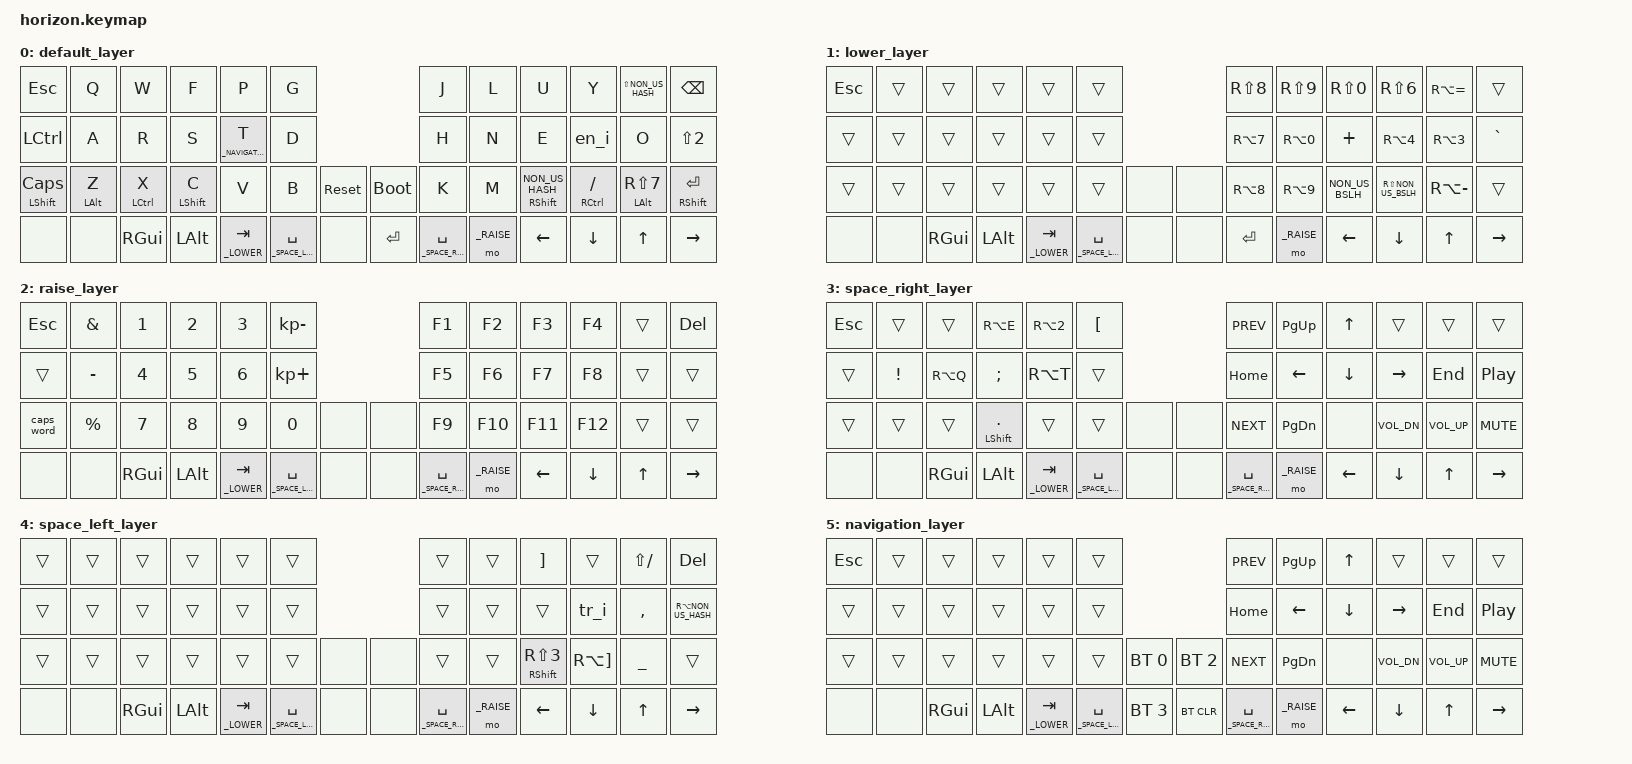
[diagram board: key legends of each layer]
/*
 * Copyright (c) 2021 The ZMK Contributors
 *
 * SPDX-License-Identifier: MIT
 */

#include <behaviors.dtsi>
#include <dt-bindings/zmk/keys.h>
#include <dt-bindings/zmk/bt.h>


// Layers
#define _COLEMAK       0
#define _LOWER         1
#define _RAISE         2
#define _SPACE_RIGHT   3
#define _SPACE_LEFT    4
#define _NAVIGATION    5

&lt {
    tapping-term-ms = <180>;
    flavor = "tap-preferred";
};

&soft_off {
    hold-time-ms = <750>; // Only turn off it the key is held for 2 seconds or longer.
};

/ {
    behaviors {
        ht: hold_tap {
            compatible = "zmk,behavior-hold-tap";
            #binding-cells = <2>;
            flavor = "tap-preferred";
            tapping-term-ms = <200>;
            quick-tap-ms = <150>;
            global-quick-tap;
            bindings = <&kp>, <&kp>;
        };
        en_i: en_i {
            compatible = "zmk,behavior-mod-morph";
            #binding-cells = <0>;
            bindings = <&kp SQT>, <&kp LS(I)>;
            mods = <(MOD_LSFT|MOD_RSFT)>;
        };
        tr_i: tr_i {
            compatible = "zmk,behavior-mod-morph";
            #binding-cells = <0>;
            bindings = <&kp I>, <&kp LS(SQT)>;
            mods = <(MOD_LSFT|MOD_RSFT)>;
        };
    };

    combos {
        compatible = "zmk,combos";
        combo_del {
            timeout-ms = <50>;
            key-positions = <10 11>;
            bindings = <&kp DEL>;
        };
        combo_off {
            timeout-ms = <50>;
            key-positions = <0 11>;
            bindings = <&soft_off>; //The soft off behavior is used to force the keyboard into an off state. The keyboard can be turned back on again either with using the reset button found on the device.
    }; 
    };

    keymap {
        compatible = "zmk,keymap";

        default_layer {
            bindings = <
                &kp ESC        &kp Q      &kp W            &kp F         &kp P                &kp G                                                &kp J                      &kp L          &kp U                    &kp Y             &kp LS(NON_US_HASH)   &kp BSPC
                &kp LCTRL      &kp A      &kp R            &kp S         &lt _NAVIGATION T    &kp D                                                &kp H                      &kp N          &kp E                    &en_i             &kp O                 &kp LS(N2)
                &ht LSHFT CLCK &ht LALT Z &ht LCTRL X      &ht LSHFT C   &kp V                &kp B                    &sys_reset   &bootloader    &kp K                      &kp M          &ht RSHFT NON_US_HASH    &ht RCTRL FSLH    &ht LALT RS(N7)       &ht RSHFT RET
                &none          &none      &kp RIGHT_GUI    &kp LALT      &lt _LOWER TAB       &lt _SPACE_LEFT SPACE    &none        &kp RET        &lt _SPACE_RIGHT SPACE     &mo _RAISE     &kp LEFT                 &kp DOWN          &kp UP                &kp RIGHT
            >;
        };

        lower_layer {
            bindings = <
                &kp ESC    &trans     &trans           &trans      &trans             &trans                                     &kp RS(N8)     &kp RS(N9)      &kp RS(N0)         &kp RS(N6)             &kp RA(EQUAL)    &trans
                &trans     &trans     &trans           &trans      &trans             &trans                                     &kp RA(N7)     &kp RA(N0)      &kp PLUS           &kp RA(N4)             &kp RA(N3)       &kp GRAVE
                &trans     &trans     &trans           &trans      &trans             &trans                   &none   &none     &kp RA(N8)     &kp RA(N9)      &kp NON_US_BSLH    &kp RS(NON_US_BSLH)    &kp RA(MINUS)    &trans
                &none      &none      &kp RIGHT_GUI    &kp LALT    &lt _LOWER TAB     &lt _SPACE_LEFT SPACE    &none   &none     &kp RET        &mo _RAISE      &kp LEFT           &kp DOWN               &kp UP           &kp RIGHT
            >;
        };

        raise_layer {
            bindings = <
                &kp ESC       &kp AMPS     &kp N1           &kp N2      &kp N3            &kp KP_MINUS                               &kp F1                     &kp F2        &kp F3      &kp F4      &trans    &kp DEL
                &trans        &kp MINUS    &kp N4           &kp N5      &kp N6            &kp KP_PLUS                                &kp F5                     &kp F6        &kp F7      &kp F8      &trans    &trans
                &caps_word    &kp PRCNT    &kp N7           &kp N8      &kp N9            &kp N0                   &none    &none    &kp F9                     &kp F10       &kp F11     &kp F12     &trans    &trans
                &none         &none        &kp RIGHT_GUI    &kp LALT    &lt _LOWER TAB    &lt _SPACE_LEFT SPACE    &none    &none    &lt _SPACE_RIGHT SPACE     &mo _RAISE    &kp LEFT    &kp DOWN    &kp UP    &kp RIGHT
            >;
        };

        space_right_layer {
            bindings = <
                &kp ESC    &trans      &trans           &kp RA(E)        &kp  RA(N2)       &kp LBKT                                   &kp C_PREV               &kp PG_UP     &kp UP      &trans         &trans         &trans
                &trans     &kp EXCL    &kp RA(Q)        &kp SEMI         &kp  RA(T)        &trans                                     &kp HOME                 &kp LEFT      &kp DOWN    &kp RIGHT      &kp END        &kp C_PLAY_PAUSE
                &trans     &trans      &trans           &ht LSHFT  DOT   &trans            &trans                   &none    &none    &kp C_NEXT               &kp PG_DN     &none       &kp C_VOL_DN   &kp C_VOL_UP   &kp C_MUTE
                &none      &none       &kp RIGHT_GUI    &kp LALT         &lt _LOWER TAB    &lt _SPACE_LEFT SPACE    &none    &none    &lt _SPACE_RIGHT SPACE   &mo _RAISE    &kp LEFT    &kp DOWN       &kp UP         &kp RIGHT
            >;
        };

        space_left_layer {
            bindings = <
                &trans    &trans    &trans           &trans     &trans             &trans                                      &trans                      &trans          &kp RBKT            &trans         &kp LS(SLASH)   &kp DEL
                &trans    &trans    &trans           &trans     &trans             &trans                                      &trans                      &trans          &trans              &tr_i          &kp COMMA       &kp RA(NON_US_HASH)
                &trans    &trans    &trans           &trans     &trans             &trans                    &none    &none    &trans                      &trans          &ht RSHFT RS(N3)    &kp RA(RBKT)   &kp UNDER       &trans
                &none     &none     &kp RIGHT_GUI    &kp LALT   &lt _LOWER TAB     &lt _SPACE_LEFT SPACE     &none    &none    &lt _SPACE_RIGHT SPACE      &mo _RAISE      &kp LEFT            &kp DOWN       &kp UP          &kp RIGHT
            >;
        };

        navigation_layer {
            bindings = <
                &kp ESC     &trans    &trans           &trans       &trans             &trans                                                    &kp C_PREV                 &kp PG_UP      &kp UP       &trans          &trans          &trans
                &trans      &trans    &trans           &trans       &trans             &trans                                                    &kp HOME                   &kp LEFT       &kp DOWN     &kp RIGHT       &kp END         &kp C_PLAY_PAUSE
                &trans      &trans    &trans           &trans       &trans             &trans                    &bt BT_SEL 0    &bt BT_SEL 2    &kp C_NEXT                 &kp PG_DN      &none        &kp C_VOL_DN    &kp C_VOL_UP    &kp C_MUTE
                &none       &none     &kp RIGHT_GUI    &kp LALT     &lt _LOWER TAB     &lt _SPACE_LEFT SPACE     &bt BT_SEL 3    &bt BT_CLR      &lt _SPACE_RIGHT SPACE     &mo _RAISE     &kp LEFT     &kp DOWN        &kp UP          &kp RIGHT
            >;
        };
    };
};
